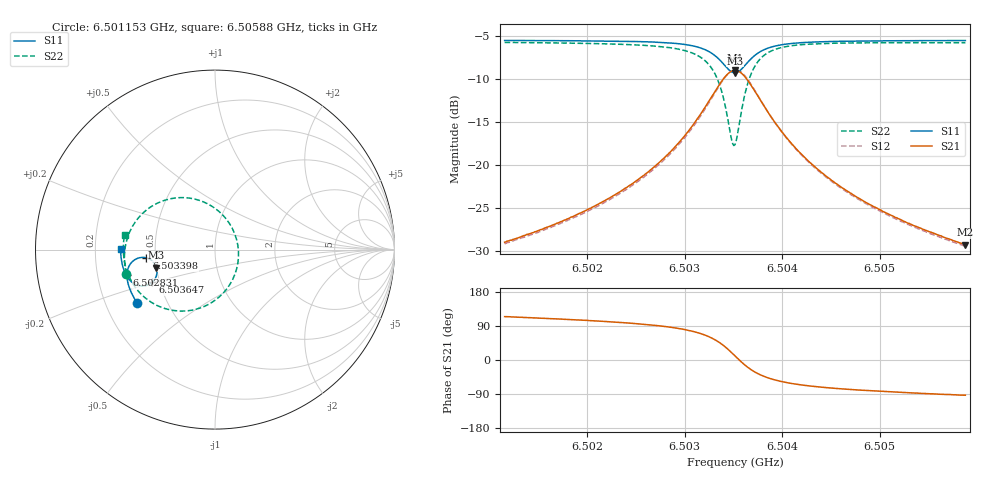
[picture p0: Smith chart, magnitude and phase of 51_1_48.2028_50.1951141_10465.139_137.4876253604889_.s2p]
#  HZ  S  RI  R  50.00
! Rohde & Schwarz Vector Network Analyzer
! Rohde-Schwarz,ZNB20-2Port,1311601062101988,3.16
! Created: UTC 3/20/2024, 11:38:16 AM
! freq[Hz]  re:S11  im:S11  re:S21  im:S21  re:S12  im:S12  re:S22  im:S22
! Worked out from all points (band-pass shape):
!   401 points, 6.501153 GHz to 6.50588 GHz, reference 50 ohm
!   highest |S21| = -9.04 dB at 6.503517 GHz (marker M1); lowest = -29.3 dB at 6.50588 GHz (marker M2)
!   |S21| within 3 dB of the highest: 6.50328 GHz to 6.503752 GHz (472.1 kHz wide, 0.00726 % of centre)
!   lowest |S11| = -9.3 dB at 6.503517 GHz (marker M3), VSWR 2.04, Z = 25 - j5.68 ohm
!   |S11| at or under -10 dB: nowhere
!   |S22| runs from -17.8 to -5.8 dB; largest |S21 - S12| = 0.012
!   S11 on the Smith chart (normalised r, x): 6.501153 GHz: 0.34, -0.28; 6.502831 GHz: 0.33, -0.13; 6.503398 GHz: 0.45, -0.05; 6.503647 GHz: 0.46, -0.20; 6.50588 GHz: 0.31, +0.00
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6.5011529e9  -0.4354 -0.2961  -0.0148 0.0324  -0.013 0.0323  -0.4949 -0.1347
6.5019447e9  -0.4682 -0.2357  -0.0138 0.0512  -0.0112 0.0507  -0.5046 -0.0467
6.5023938e9  -0.483 -0.1942  -0.0103 0.0726  -0.00713 0.0712  -0.4986 0.0214
6.5027365e9  -0.4901 -0.1541  -0.000495 0.1029  0.00318 0.1004  -0.4765 0.0957
6.5028311e9  -0.4904 -0.1406  0.00541 0.1154  0.0093 0.1124  -0.4637 0.1225
6.503032e9  -0.4846 -0.106  0.0305 0.1524  0.0342 0.1475  -0.4114 0.1935
6.5031738e9  -0.4682 -0.0754  0.0723 0.1874  0.0748 0.1812  -0.3307 0.2538
6.5033038e9  -0.4305 -0.0483  0.1527 0.2137  0.1532 0.2073  -0.1841 0.2897
6.5033983e9  -0.382 -0.0461  0.2478 0.1956  0.248 0.191  -0.0192 0.2428
6.5034811e9  -0.3375 -0.0772  0.3288 0.117  0.3315 0.113  0.1099 0.0875
6.5035165e9  -0.3264 -0.1005  0.3468 0.0661  0.3506 0.0607  0.1307 -0.00852
6.5035402e9  -0.3233 -0.1176  0.35 0.03  0.3542 0.0231  0.1275 -0.0752
6.5035756e9  -0.3258 -0.1428  0.3417 -0.0222  0.3456 -0.0314  0.0978 -0.1678
6.5036465e9  -0.3491 -0.1814  0.2923 -0.1012  0.2923 -0.1131  -0.0189 -0.2952
6.5037411e9  -0.3914 -0.2019  0.2107 -0.1453  0.2055 -0.1559  -0.1855 -0.3425
6.503812e9  -0.4186 -0.202  0.1612 -0.1503  0.1542 -0.1585  -0.278 -0.3287
6.5038947e9  -0.4423 -0.1946  0.1192 -0.144  0.1117 -0.1497  -0.3516 -0.2956
6.5040602e9  -0.4723 -0.1734  0.0696 -0.1219  0.0629 -0.1244  -0.4319 -0.2259
6.5043083e9  -0.4951 -0.1422  0.0356 -0.0942  0.0307 -0.0945  -0.4808 -0.1459
6.5046747e9  -0.5114 -0.1025  0.0154 -0.0685  0.0119 -0.068  -0.5046 -0.0671
6.5051001e9  -0.5205 -0.0622  0.00547 -0.0513  0.00305 -0.0505  -0.5108 -0.00329
6.5058801e9  -0.526 0.00478  -0.00179 -0.0344  -0.00329 -0.0336  -0.504 0.083
